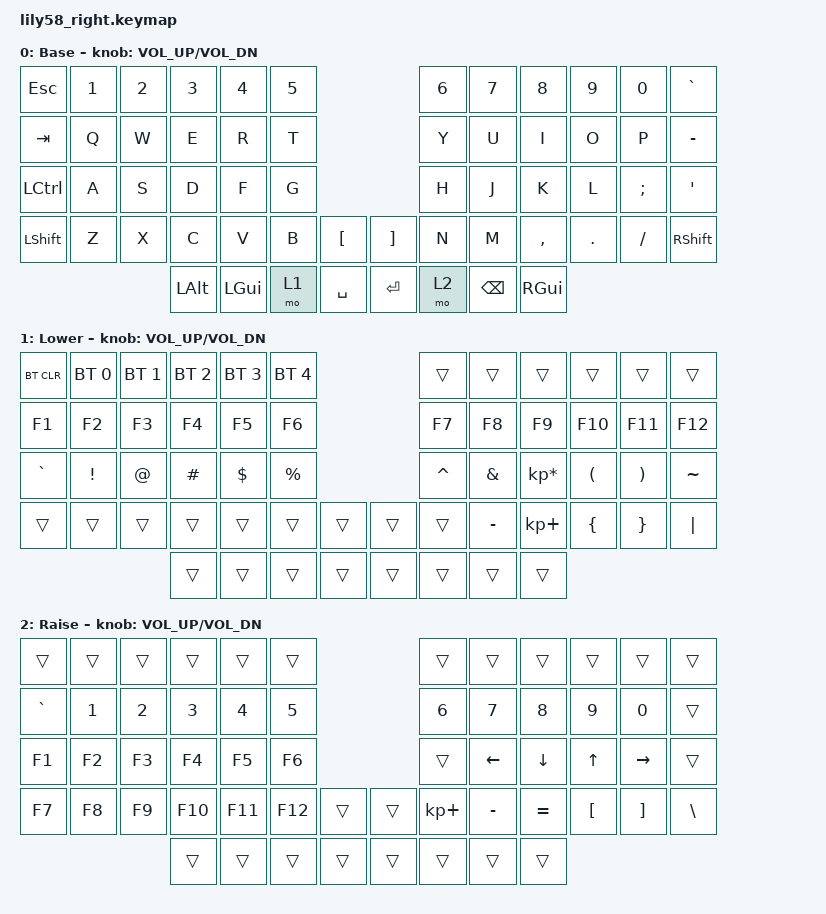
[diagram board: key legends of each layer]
/*
 * Copyright (c) 2020 The ZMK Contributors
 *
 * SPDX-License-Identifier: MIT
 */

#include <behaviors.dtsi>
#include <dt-bindings/zmk/keys.h>
#include <dt-bindings/zmk/bt.h>
#include <dt-bindings/zmk/ext_power.h>

/ {
    chosen {
        zmk,display = &nice_view; 
    };
    // adding the moth
    widget_image_sp {
        compatible = "zmk,widget-image";
        width = <128>;
        height = <64>;
        data = [
            f7 f7 f7 ff 01 01 01 ff
            ff ff ff ff ff ff ff ff ff ff ff ff ff ff ff ff
            ff ff ff ff ff ff ff ff ff ff ff ff ff ff ff ff
            ff ff ff ff ff ff ff ff ff ff ff ff ff ff ff ff
            ff ff ff ff ff ff ff ff ff ff ff ff ff ff ff ff
            ff ff ff ff ff ff ff ff ff ff ff ff ff ff ff ff
            ff ff ff ff ff ff ff ff ff ff ff ff ff ff ff ff
            ff ff ff ff ff ff ff ff ff ff ff ff ff ff ff ff
            ff ff ff ff ff ff ff ff ff ff ff ff ff ff ff ff
            ff ff ff ff ff ff ff ff ff ff ff ff ff ff ff ff
            ff ff ff ff ff ff ff ff ff ff ff ff ff ff ff ff
            ff ff ff ff ff ff ff ff ff ff ff ff ff ff ff ff
            ff ff ff ff ff ff ff ff ff ff ff ff ff ff ff ff
            ff ff ff ff ff ff ff ff ff ff ff ff ff ff ff ff
            ff ff ff ff ff 9f ff ff ff ff ff ff ff ff ff ff
            ff ff ff ff ff 87 ff ff ff ff ff ff ff ff ff ff
            ff ff ff ff ff 81 ff ff ff ff ff ff ff ff ff ff
            ff ff ff ff ff 80 ff ff ff ff ff ff bf ff ff ff
            ff ff ff ff ff 80 3f ff ff ff ff fe 1f ff ff ff
            ff ff ff ff ff 80 0f ff ff ff ff f0 1f ff ff ff
            ff ff ff ff ff 80 07 ff ff ff ff c0 1f ff ff ff
            ff ff ff ff ff c0 01 ff ff ff fe 00 3f ff ff ff
            ff ff ff ff ff c0 00 ff ff ff f8 00 3f ff ff ff
            ff ff ff ff ff e0 00 7f ff ff e0 00 3f ff ff ff
            ff ff ff ff ff e0 00 3f ff ff 80 00 7f ff ff ff
            ff ff ff ff ff f0 00 1f f5 5e 00 00 7f ff ff ff
            ff ff ff ff ff f0 00 00 00 00 00 00 7f ff ff ff
            ff ff ff ff ff f8 00 00 00 00 00 00 ff ff ff ff
            ff ff ff ff ff fc 00 00 00 00 00 01 ff ff ff ff
            ff ff ff ff ff fe 00 00 00 00 00 01 ff ff ff ff
            ff ff ff ff ff ff 00 00 00 00 00 03 ff ff ff ff
            ff ff ff ff ff ff 80 00 00 00 00 07 ff ff ff ff
            ff ff ff ff ff ff a0 00 00 00 00 1f ff ff ff ff
            ff ff ff ff ff ff e0 00 00 00 01 3f ff ff ff ff
            ff ff ff ff ff ff c0 00 00 00 00 ff ff ff ff ff
            ff ff ff ff ff ff c0 00 00 00 00 7f ff ff ff ff
            ff ff ff ff ff ff 80 40 00 04 00 7f ff ff ff ff
            ff ff ff ff ff ff 80 a0 00 03 00 3f ff ff ff ff
            ff ff ff ff ff ff 01 30 00 09 80 3f ff ff ff ff
            ff ff ff ff ff ff 01 70 00 0b 80 3f ff ff ff ff
            ff ff ff ff ff ff 01 f0 00 0f 00 1f ff ff ff ff
            ff ff ff ff ff fe 00 e0 00 07 00 1f ff ff ff ff
            ff ff ff ff ff fe 00 00 00 00 00 1f ff ff ff ff
            ff ff ff ff ff fe 00 00 60 00 00 0f ff ff ff ff
            ff ff ff ff ff fe 00 00 70 00 00 0f ff ff ff ff
            ff ff ff ff ff fc 70 00 00 00 3c 0f ff ff ff ff
            ff ff ff ff ff fd fc 00 00 00 7f 0f ff ff ff ff
            ff ff ff ff ff fd fc 00 00 00 ff 07 ff ff ff ff
            ff ff ff ff ff fd fc 00 14 00 ff 07 ff ff ff ff
            ff ff ff ff ff fd fc 00 a2 00 7f 07 ff ff ff ff
            ff ff ff ff ff fc 70 00 01 00 7e 07 ff ff ff ff
            ff ff ff ff ff fc 00 01 00 00 18 03 ff ff ff ff
            ff ff ff ff ff fc 00 00 01 00 00 03 ff ff ff ff
            ff ff ff ff ff fe 00 00 80 00 00 03 ff ff ff ff
            ff ff ff ff ff fe 00 00 22 00 00 03 ff ff ff ff
            ff ff ff ff ff ff 00 00 08 00 00 01 ff ff ff ff
            ff ff ff ff ff ff 00 00 00 00 00 03 ff ff ff ff
            ff ff ff ff ff ff 80 00 00 00 00 01 ff ff ff ff
            ff ff ff ff ff ff 80 00 00 00 00 01 ff ff ff ff
            ff ff ff ff ff ff c0 00 00 00 00 01 ff ff ff ff
            ff ff ff ff ff ff c0 00 00 00 00 01 ff ff ff ff
            ff ff ff ff ff ff c0 00 00 00 00 01 ff ff ff ff
            ff ff ff ff ff ff 80 00 00 00 00 00 ff ff ff ff
            ff ff ff ff ff ff 80 00 00 00 00 01 ff ff ff ff
        ];
    };
    // Display Node Configurations 
    &nice_view {
        widgets = <
            &widget_battery_status
            &widget_output_status
            &widget_image_sp
        >;
    }
    keymap {
        compatible = "zmk,keymap";

        default_layer {
// ------------------------------------------------------------------------------------------------------------
// |  ESC  |  1  |  2  |  3   |  4   |  5   |                   |  6   |  7    |  8    |  9   |   0   |   `   |
// |  TAB  |  Q  |  W  |  E   |  R   |  T   |                   |  Y   |  U    |  I    |  O   |   P   |   -   |
// |  CTRL |  A  |  S  |  D   |  F   |  G   |                   |  H   |  J    |  K    |  L   |   ;   |   '   |
// | SHIFT |  Z  |  X  |  C   |  V   |  B   |   "["  |  |  "]"  |  N   |  M    |  ,    |  .   |   /   | SHIFT |
//                     | ALT  | GUI  | LOWER|  SPACE |  | ENTER | RAISE| BSPC  | GUI   |
            display-name = "Base";
            bindings = <
&kp ESC   &kp N1 &kp N2 &kp N3   &kp N4   &kp N5                     &kp N6 &kp N7   &kp N8    &kp N9  &kp N0   &kp GRAVE
&kp TAB   &kp Q  &kp W  &kp E    &kp R    &kp T                      &kp Y  &kp U    &kp I     &kp O   &kp P    &kp MINUS
&kp LCTRL &kp A  &kp S  &kp D    &kp F    &kp G                      &kp H  &kp J    &kp K     &kp L   &kp SEMI &kp SQT
&kp LSHFT &kp Z  &kp X  &kp C    &kp V    &kp B  &kp LBKT   &kp RBKT &kp N  &kp M    &kp COMMA &kp DOT &kp FSLH &kp RSHFT
                        &kp LALT &kp LGUI &mo 1  &kp SPACE  &kp RET  &mo 2  &kp BSPC &kp RGUI
            >;

            sensor-bindings = <&inc_dec_kp C_VOL_UP C_VOL_DN>;
        };

        lower_layer {
// ------------------------------------------------------------------------------------------------------------
// | BTCLR | BT1 | BT2 |  BT3 |  BT4 |  BT5 |                   |      |       |       |      |       |       |
// |  F1   |  F2 |  F3 |  F4  |  F5  |  F6  |                   |  F7  |  F8   |  F9   |  F10 |  F11  |  F12  |
// |   `   |  !  |  @  |  #   |  $   |  %   |                   |  ^   |  &    |  *    |  (   |   )   |   ~   |
// |       |     |     |      |      |      |        |  |       |      |  _    |  +    |  {   |   }   |  "|"  |
//                     |      |      |      |        |  |       |      |       |       |
            display-name = "Lower";
            bindings = <
&bt BT_CLR &bt BT_SEL 0     &bt BT_SEL 1      &bt BT_SEL 2      &bt BT_SEL 3 &bt BT_SEL 4                 &trans    &trans    &trans          &trans    &trans    &trans
&kp F1     &kp F2           &kp F3            &kp F4            &kp F5       &kp F6                       &kp F7    &kp F8    &kp F9          &kp F10   &kp F11   &kp F12
&kp GRAVE  &kp EXCL         &kp AT            &kp HASH          &kp DOLLAR   &kp PRCNT                    &kp CARET &kp AMPS  &kp KP_MULTIPLY &kp LPAR  &kp RPAR  &kp TILDE
&trans     &trans           &trans            &trans            &trans       &trans    &trans   &trans    &trans    &kp MINUS &kp KP_PLUS     &kp LBRC  &kp RBRC  &kp PIPE
                                              &trans            &trans       &trans    &trans   &trans    &trans    &trans    &trans
            >;

            sensor-bindings = <&inc_dec_kp C_VOL_UP C_VOL_DN>;
        };

        raise_layer {
// ------------------------------------------------------------------------------------------------------------
// |       |     |     |      |      |      |                   |      |       |       |      |       |       |
// |   `   |  1  |  2  |  3   |  4   |  5   |                   |  6   |   7   |   8   |  9   |   0   |       |
// |   F1  |  F2 |  F3 |  F4  |  F5  |  F6  |                   |      |   <-  |   v   |  ^   |  ->   |       |
// |   F7  |  F8 |  F9 |  F10 |  F11 |  F12 |        |  |       |  +   |   -   |   =   |  [   |   ]   |   \   |
//                     |      |      |      |        |  |       |      |       |       |
            display-name = "Raise";
            bindings = <
&trans    &trans &trans &trans  &trans  &trans                       &trans      &trans    &trans    &trans   &trans    &trans
&kp GRAVE &kp N1 &kp N2 &kp N3  &kp N4  &kp N5                       &kp N6      &kp N7    &kp N8    &kp N9   &kp N0    &trans
&kp F1    &kp F2 &kp F3 &kp F4  &kp F5  &kp F6                       &trans      &kp LEFT  &kp DOWN  &kp UP   &kp RIGHT &trans
&kp F7    &kp F8 &kp F9 &kp F10 &kp F11 &kp F12   &trans   &trans    &kp KP_PLUS &kp MINUS &kp EQUAL &kp LBKT &kp RBKT  &kp BSLH
                        &trans  &trans  &trans    &trans   &trans    &trans      &trans    &trans
            >;

            sensor-bindings = <&inc_dec_kp C_VOL_UP C_VOL_DN>;
        };

        extra_1 {
            status = "reserved";
        };

        extra_2 {
            status = "reserved";
        };

        extra_3 {
            status = "reserved";
        };
    };
};
